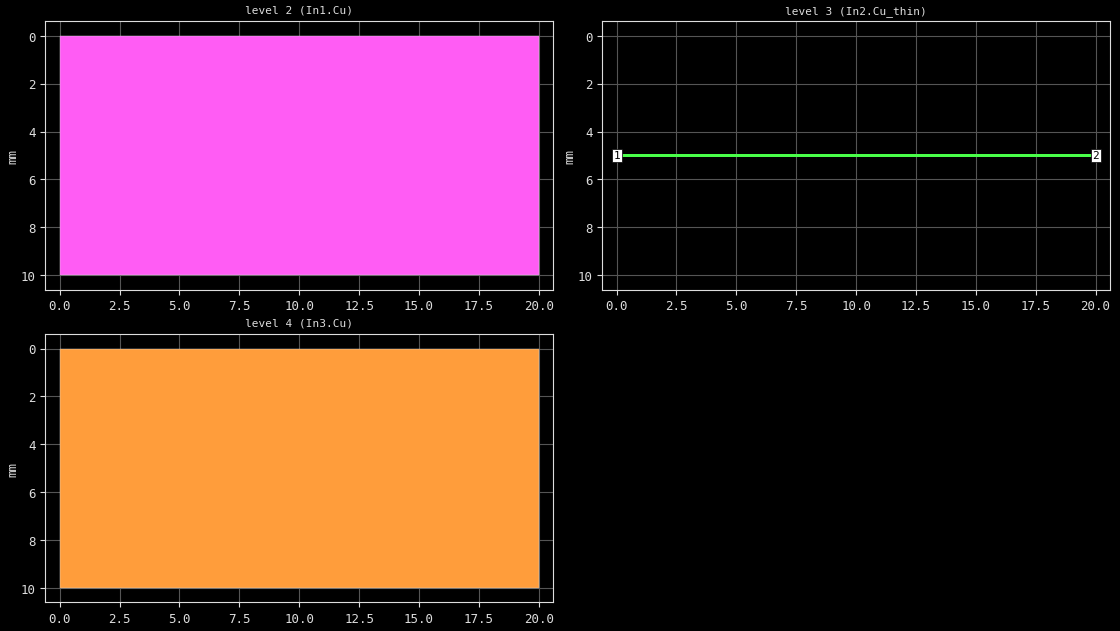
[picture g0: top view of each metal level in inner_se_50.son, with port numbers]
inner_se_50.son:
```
FTYP SONPROJ 19 ! Sonnet Project File
VER 18.56
HEADER
LIC antikernel2.1.65565
DAT 10/18/2024 01:52:00
BUILT_BY_CREATED xgeom 18.52 11/18/2021 20:28:07
BUILT_BY_SAVED sonnet 18.56
MDATE 10/18/2024 00:44:44
HDATE 10/18/2024 00:44:44
END HEADER
DIM
ANG DEG
CAP PF
CON /OH
FREQ GHZ
IND NH
LNG MM
RES OH
END DIM
CONTROL
VARSWP
OPTIONS  -dj
SPEED 0
CACHE_ABS 2
Q_ACC N
END CONTROL
GEO
SYM
TMET "Free Space" 0 FREESPACE 376.7303136 0 0 0
BMET "Free Space" 0 FREESPACE 376.7303136 0 0 0
MET "Copper_1oz_thin" 1 NOR 58000000 0.5 0.035 
MET "Copper_1oz_thick" 2 TMM 58000000 0.5 0.035 2
MET "Copper_1oz_thick_down" 3 TMM 58000000 0.5 0.035 2 CDVY TDWN
MET "Copper_0.5oz_thin" 4 NOR 58000000 0.5 0.017 
MET "Copper_0.5oz_thick" 12 TMM 58000000 0.5 0.017 2
MET "Copper_0.5oz_thick_down" 5 TMM 58000000 0.5 0.017 2 CDVY TDWN
BOX 12 20 10 4000 2000 20 0
      5 1 1 0 0 0 0 "Air"
      0.04 3.5 1 0.025 0 0 0 "Soldermask"
      0.076 4.49 1 0.016 0 0 0 "Shengyi_S1000-2M"
      0.1 4.49 1 0.016 0 0 0 "Shengyi_S1000-2M"
      0.119 4.49 1 0.016 0 0 0 "Shengyi_S1000-2M"
      0.1 4.49 1 0.016 0 0 0 "Shengyi_S1000-2M"
      0.5 4.49 1 0.016 0 0 0 "Shengyi_S1000-2M"
      0.1 4.49 1 0.016 0 0 0 "Shengyi_S1000-2M"
      0.119 4.49 1 0.016 0 0 0 "Shengyi_S1000-2M"
      0.1 4.49 1 0.016 0 0 0 "Shengyi_S1000-2M"
      0.076 4.49 1 0.016 0 0 0 "Shengyi_S1000-2M"
      0.04 3.5 1 0.025 0 0 0 "Soldermask"
      5 1 1 0 0 0 0 "Air"
TECHLAY METAL F.Cu_thin <UNSPECIFIED> -1 -65534 CAD F.Cu_thin drawing 
1 0 0 N 200 1 1 100 100 0 0 0 Y
END
END
TECHLAY METAL F.Cu_thick <UNSPECIFIED> -2 -65534 CAD F.Cu_thick drawing 
1 0 1 N 202 1 1 100 100 0 0 0 Y
END
END
TECHLAY VIA Via1 <UNSPECIFIED> -13 -65534 CAD Via1 drawing 
VIA POLYGON
1 0 -1 N 257 1 1 100 100 0 0 0 Y
TOLEVEL 10 RING NOCOVERS
END
END
TECHLAY METAL In1.Cu <UNSPECIFIED> -3 -65534 CAD In1.Cu drawing 
2 0 0 N 207 1 1 100 100 0 0 0 Y
END
END
TECHLAY METAL In2.Cu_thin <UNSPECIFIED> -4 -65534 CAD In2.Cu drawing 
3 0 3 N 210 1 1 100 100 0 0 0 Y
END
END
TECHLAY METAL In2.Cu_thick <UNSPECIFIED> -5 -65534 CAD In2.Cu_thick drawing 
3 0 4 N 214 1 1 100 100 0 0 0 Y
END
END
TECHLAY METAL In3.Cu <UNSPECIFIED> -6 -65534 CAD In3.Cu drawing 
4 0 0 N 217 1 1 100 100 0 0 0 Y
END
END
TECHLAY METAL In4.Cu <UNSPECIFIED> -7 -65534 CAD In4.Cu drawing 
5 0 0 N 220 1 1 100 100 0 0 0 Y
END
END
TECHLAY METAL In5.Cu <UNSPECIFIED> -14 -65534 
6 0 0 N 223 1 1 100 100 0 0 0 Y
END
END
TECHLAY METAL In6.Cu <UNSPECIFIED> -15 -65534 
7 0 0 N 226 1 1 100 100 0 0 0 Y
END
END
TECHLAY METAL In7.Cu_thin <UNSPECIFIED> -8 -65534 CAD In5.Cu drawing 
8 0 3 N 229 1 1 100 100 0 0 0 Y
END
END
TECHLAY METAL In7.Cu_thick <UNSPECIFIED> -9 -65534 CAD In5.Cu_thick drawing 
8 0 5 N 231 1 1 100 100 0 0 0 Y
END
END
TECHLAY METAL In8.Cu <UNSPECIFIED> -10 -65534 CAD In6.Cu drawing 
9 0 0 N 234 1 1 100 100 0 0 0 Y
END
END
TECHLAY METAL B.Cu_thin <UNSPECIFIED> -11 -65534 CAD B.Cu_thin drawing 
10 0 0 N 237 1 1 100 100 0 0 0 Y
END
END
TECHLAY METAL B.Cu_thick <UNSPECIFIED> -12 -65534 CAD B.Cu_thick drawing 
10 0 2 N 239 1 1 100 100 0 0 0 Y
END
END
VALVAR WIDTH LNG 0.106 "Dim. Param."
VALVAR CORE_ER NONE "table1(\"../../sata-sniffer/sims/core_er.csv\",FREQ)" "Variable set in material file"
VALVAR CORE_DF NONE "table1(\"../../sata-sniffer/sims/core_df.csv\",FREQ)" "Variable set in material file"
VALVAR PREPREG_DF NONE "table1(\"../../sata-sniffer/sims/prepreg_df.csv\",FREQ)" "Variable set in material file"
VALVAR PREPREG_ER NONE "table1(\"../../sata-sniffer/sims/prepreg_er.csv\",FREQ)" "Variable set in material file"
LORGN 0 10 U 
POR1 BOX
POLY 104 1
3
1 50 0 0 0 0 5 
POR1 BOX
POLY 104 1
1
2 50 0 0 0 20 5 
NUM 3
2 5 0 N 103 1 1 100 100 0 0 0 Y
TLAYNAM In1.Cu INH
0 0
20 0
20 10
0 10
0 0
END
3 5 3 N 104 1 1 100 100 0 0 0 Y
TLAYNAM In2.Cu_thin INH
0 4.947
20 4.947
20 5.053
0 5.053
0 4.947
END
4 5 0 N 184 1 1 100 100 0 0 0 Y
TLAYNAM In3.Cu INH
0 0
20 0
20 10
0 10
0 0
END
END GEO
OPT
MAX 100
END OPT
VARSWP
SWPVARS ON
ENABLED Y
FREQ Y AY ABS_ENTRY 0.001 16.0 -1 300 
VAR WIDTH Y 0.1 0.2 0.02
END
END VARSWP
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```
